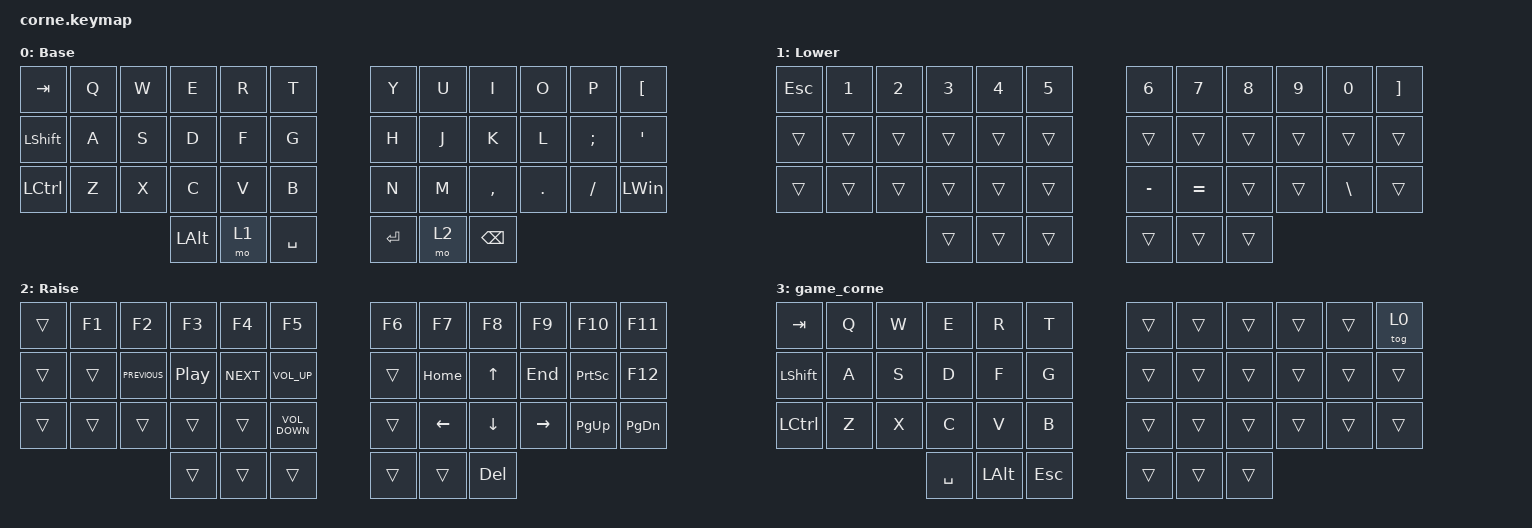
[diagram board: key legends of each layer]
/*
 * Copyright (c) 2020 The ZMK Contributors
 *
 * SPDX-License-Identifier: MIT
 */

#include <behaviors.dtsi>
#include <dt-bindings/zmk/bt.h>
#include <dt-bindings/zmk/keys.h>

/ {
    combos {
        compatible = "zmk,combos";

        game {
            bindings = <&tog 3>;
            key-positions = <37 40>;
            timeout-ms = <40>;
            layers = <0>;
            slow-release;
        };

        bt_clr {
            bindings = <&bt BT_CLR_ALL>;
            key-positions = <0 12 24 36 37 38>;
            timeout-ms = <40>;
            layers = <0 1 2 3>;
            slow-release;
        };
    };

    keymap {
        compatible = "zmk,keymap";

        default_layer {
            display-name = "Base";
            bindings = <
&kp TAB    &kp Q  &kp W  &kp E     &kp R  &kp T        &kp Y      &kp U  &kp I      &kp O    &kp P      &kp LBKT
&kp LSHFT  &kp A  &kp S  &kp D     &kp F  &kp G        &kp H      &kp J  &kp K      &kp L    &kp SEMI   &kp SINGLE_QUOTE
&kp LCTRL  &kp Z  &kp X  &kp C     &kp V  &kp B        &kp N      &kp M  &kp COMMA  &kp DOT  &kp SLASH  &kp LEFT_WIN
                         &kp LALT  &mo 1  &kp SPACE    &kp ENTER  &mo 2  &kp BSPC
            >;
        };

        num_sym {
            display-name = "Lower";
            bindings = <
&kp ESC  &kp N1  &kp N2  &kp N3  &kp N4  &kp N5    &kp N6     &kp N7     &kp N8  &kp N9  &kp N0         &kp RIGHT_BRACKET
&trans   &trans  &trans  &trans  &trans  &trans    &trans     &trans     &trans  &trans  &trans         &trans
&trans   &trans  &trans  &trans  &trans  &trans    &kp MINUS  &kp EQUAL  &trans  &trans  &kp BACKSLASH  &trans
                         &trans  &trans  &trans    &trans     &trans     &trans
            >;
        };

        nav {
            display-name = "Raise";
            bindings = <
&trans  &kp F1  &kp F2          &kp F3    &kp F4      &kp F5               &kp F6  &kp F7          &kp F8          &kp F9           &kp F10          &kp F11
&trans  &trans  &kp C_PREVIOUS  &kp C_PP  &kp C_NEXT  &kp C_VOLUME_UP      &trans  &kp HOME        &kp UP_ARROW    &kp END          &kp PRINTSCREEN  &kp F12
&trans  &trans  &trans          &trans    &trans      &kp C_VOLUME_DOWN    &trans  &kp LEFT_ARROW  &kp DOWN_ARROW  &kp RIGHT_ARROW  &kp PAGE_UP      &kp PAGE_DOWN
                                &trans    &trans      &trans               &trans  &trans          &kp DELETE
            >;
        };

        game_corne {
            bindings = <
&kp TAB         &kp Q  &kp W  &kp E      &kp R         &kp T         &trans  &trans  &trans  &trans  &trans  &tog 0
&kp LEFT_SHIFT  &kp A  &kp S  &kp D      &kp F         &kp G         &trans  &trans  &trans  &trans  &trans  &trans
&kp LCTRL       &kp Z  &kp X  &kp C      &kp V         &kp B         &trans  &trans  &trans  &trans  &trans  &trans
                              &kp SPACE  &kp LEFT_ALT  &kp ESCAPE    &trans  &trans  &trans
            >;
        };
    };
};
